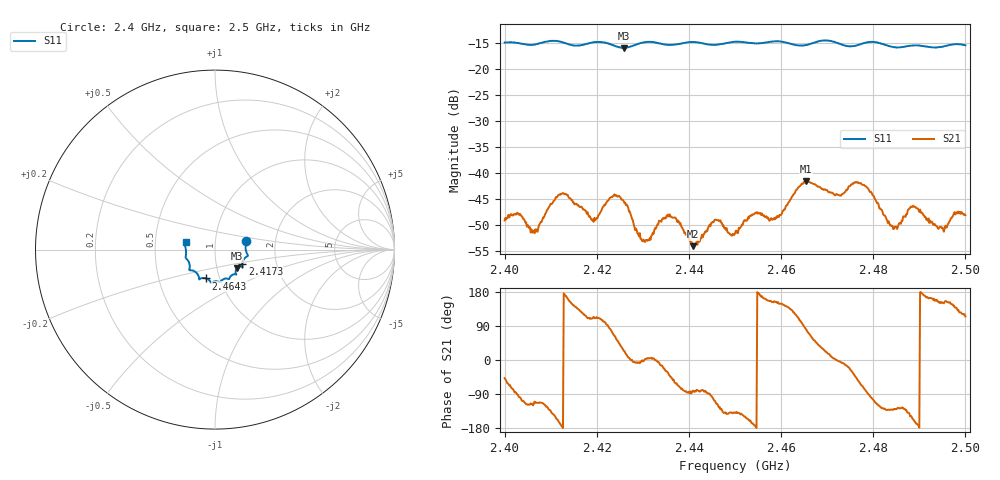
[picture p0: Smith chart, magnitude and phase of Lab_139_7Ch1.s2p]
# Hz S RI R 50
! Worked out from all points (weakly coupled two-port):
!   601 points, 2.4 GHz to 2.5 GHz, reference 50 ohm
!   highest |S21| = -41.65 dB at 2.4653 GHz (marker M1); lowest = -54.1 dB at 2.4408 GHz (marker M2)
!   lowest |S11| = -15.9 dB at 2.4258 GHz (marker M3), VSWR 1.38, Z = 62.3 - j13.3 ohm
!   |S11| at or under -10 dB: start of sweep to end of sweep
!   S12 and S22 are empty: the file has one direction only
!   S11 on the Smith chart (normalised r, x): 2.4 GHz: 1.41, +0.14; 2.4173 GHz: 1.34, -0.22; 2.4643 GHz: 0.86, -0.28; 2.5 GHz: 0.72, +0.06
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2.4e9  0.1731 0.0485  0.00233 -0.00258  0 0  0 0
2.406667e9  0.1723 -0.00622  -0.00111 -0.00264  0 0  0 0
2.412333e9  0.1783 -0.0387  -0.00627 -0.000675  0 0  0 0
2.416667e9  0.1527 -0.0742  -0.00284 0.00379  0 0  0 0
2.417333e9  0.1519 -0.0816  -0.00205 0.00386  0 0  0 0
2.425833e9  0.1218 -0.1036  0.00486 0.00223  0 0  0 0
2.43e9  0.1172 -0.1366  0.00219 -0.000133  0 0  0 0
2.433333e9  0.1127 -0.1373  0.00317 -0.000283  0 0  0 0
2.436667e9  0.0893 -0.1463  0.00231 -0.0029  0 0  0 0
2.440833e9  0.0779 -0.1648  0.000309 -0.00194  0 0  0 0
2.446e9  0.0476 -0.1646  -0.00152 -0.00317  0 0  0 0
2.45e9  0.0287 -0.1809  -0.00199 -0.00169  0 0  0 0
2.454167e9  0.00881 -0.1763  -0.00396 -0.000591  0 0  0 0
2.4595e9  -0.0233 -0.1833  -0.00322 0.00193  0 0  0 0
2.464333e9  -0.0498 -0.1605  -0.00137 0.00753  0 0  0 0
2.465333e9  -0.0617 -0.1583  0.00108 0.0082  0 0  0 0
2.466667e9  -0.0758 -0.1594  0.00404 0.00686  0 0  0 0
2.477667e9  -0.1328 -0.1154  0.00275 -0.00715  0 0  0 0
2.483333e9  -0.1406 -0.0897  -0.00224 -0.00259  0 0  0 0
2.488667e9  -0.1621 -0.0471  -0.00445 -0.00189  0 0  0 0
2.494833e9  -0.1634 0.00803  -0.00263 0.00134  0 0  0 0
2.5e9  -0.164 0.0429  -0.00164 0.00356  0 0  0 0
